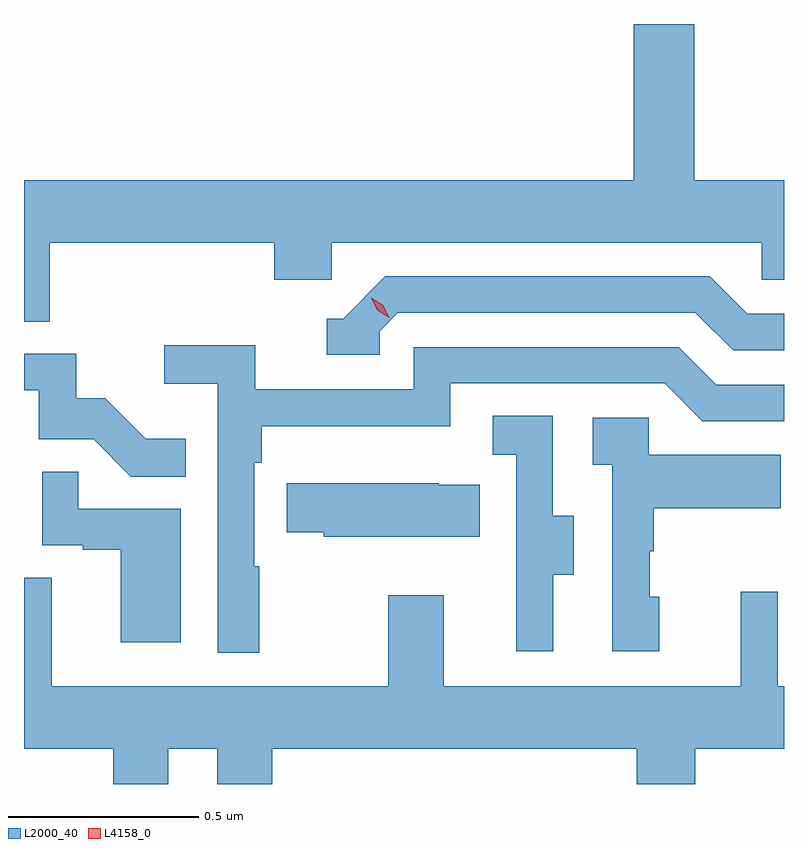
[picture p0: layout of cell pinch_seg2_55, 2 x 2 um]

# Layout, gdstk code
import gdstk
lib = gdstk.Library(unit=1e-6, precision=1e-09)
def P(c, l, *ps):  # polygons
    for p in ps: c.add(gdstk.Polygon(p, *l))
L2000_40 = (2000, 40)
L4158_0 = (4158, 0)

pinch_seg2_55 = lib.new_cell('pinch_seg2_55')
P(pinch_seg2_55, L2000_40, [(1058.486,663.62),(1059.077,663.62),(1059.077,663.522),(1059.228,663.522),(1059.228,663.62),(1060.359,663.62),(1060.359,663.522),(1060.418,663.522),(1060.418,663.784),(1060.182,663.784),(1060.182,664.195),(1060.022,664.195),(1060.022,663.784),(1058.418,663.784),(1058.418,663.412),(1058.486,663.412)],
  [(1059.354,663.387),(1059.402,663.435),(1060.185,663.435),(1060.284,663.336),(1060.418,663.336),(1060.418,663.432),(1060.321,663.432),(1060.222,663.531),(1059.369,663.531),(1059.258,663.42),(1059.215,663.42),(1059.215,663.324),(1059.354,663.324)],
  [(1059.037,662.768),(1059.024,662.768),(1059.024,663.041),(1059.044,663.041),(1059.044,663.137),(1059.54,663.137),(1059.54,663.249),(1060.104,663.249),(1060.203,663.15),(1060.418,663.15),(1060.418,663.246),(1060.24,663.246),(1060.141,663.345),(1059.444,663.345),(1059.444,663.234),(1059.026,663.234),(1059.026,663.35),(1058.787,663.35),(1058.787,663.248),(1058.928,663.248),(1058.928,662.541),(1059.037,662.541)],
  [(1058.843,663.103),(1058.739,663.103),(1058.632,663.21),(1058.556,663.21),(1058.556,663.327),(1058.418,663.327),(1058.418,663.231),(1058.457,663.231),(1058.457,663.102),(1058.601,663.102),(1058.699,663.004),(1058.843,663.004)],
  [(1059.811,662.746),(1059.865,662.746),(1059.865,662.901),(1059.81,662.901),(1059.81,663.164),(1059.651,663.164),(1059.651,663.061),(1059.714,663.061),(1059.714,662.757),(1059.713,662.757),(1059.713,662.544),(1059.811,662.544)],
  [(1060.09,662.688),(1060.065,662.688),(1060.065,662.807),(1060.075,662.807),(1060.075,662.921),(1060.409,662.921),(1060.409,663.061),(1060.062,663.061),(1060.062,663.159),(1059.915,663.159),(1059.915,663.035),(1059.966,663.035),(1059.966,662.544),(1060.09,662.544)],
  [(1058.83,662.919),(1058.561,662.919),(1058.561,663.017),(1058.466,663.017),(1058.466,662.823),(1058.573,662.823),(1058.573,662.811),(1058.672,662.811),(1058.672,662.568),(1058.83,662.568)],
  [(1059.617,662.983),(1059.509,662.983),(1059.509,662.986),(1059.109,662.986),(1059.109,662.857),(1059.207,662.857),(1059.207,662.846),(1059.617,662.846)],
  [(1058.797,662.288),(1058.927,662.288),(1058.927,662.195),(1059.071,662.195),(1059.071,662.288),(1060.031,662.288),(1060.031,662.195),(1060.184,662.195),(1060.184,662.288),(1060.418,662.288),(1060.418,662.452),(1060.401,662.452),(1060.401,662.701),(1060.304,662.701),(1060.304,662.452),(1059.523,662.452),(1059.523,662.692),(1059.376,662.692),(1059.376,662.452),(1058.491,662.452),(1058.491,662.738),(1058.418,662.738),(1058.418,662.288),(1058.653,662.288),(1058.653,662.195),(1058.797,662.195)])
P(pinch_seg2_55, L4158_0, [(1059.379,663.422),(1059.348,663.442),(1059.332,663.474),(1059.332,663.474),(1059.332,663.474),(1059.363,663.455),(1059.379,663.422),(1059.379,663.422)])

lib.write_gds('pinch_seg2_55.gds')
